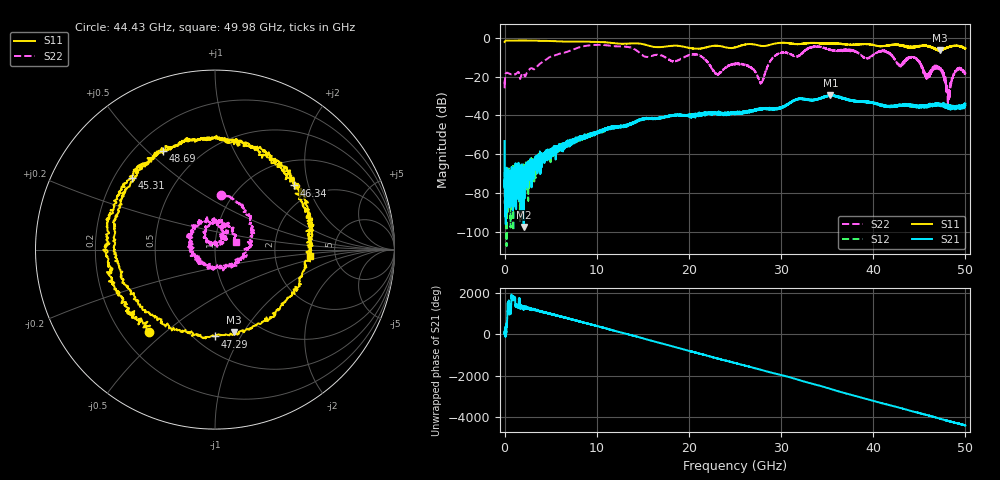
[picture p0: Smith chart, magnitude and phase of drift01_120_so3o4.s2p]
!Created with skrf (http://scikit-rf.org).
# Hz S RI R 50.0
!freq ReS11 ImS11 ReS21 ImS21 ReS12 ImS12 ReS22 ImS22
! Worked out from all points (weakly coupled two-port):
!   10001 points, 300 kHz to 50 GHz, reference 50 ohm
!   highest |S21| = -29.41 dB at 35.36 GHz (marker M1); lowest = -97.5 dB at 2.07 GHz (marker M2)
!   lowest |S11| = -6.5 dB at 47.21 GHz (marker M3), VSWR 2.79, Z = 38.3 - j45.5 ohm
!   |S11| at or under -10 dB: nowhere
!   |S22| runs from -34.2 to -3.6 dB; largest |S21 - S12| = 0.0043
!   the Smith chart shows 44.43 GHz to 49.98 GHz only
!   S11 on the Smith chart (normalised r, x): 44.43 GHz: 0.31, -0.44; 45.31 GHz: 0.27, +0.35; 46.34 GHz: 1.54, +1.63; 47.29 GHz: 0.62, -0.78; 48.69 GHz: 0.31, +0.56; 49.98 GHz: 3.25, -0.32
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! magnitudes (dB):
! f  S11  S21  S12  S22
! 300 kHz  -2.1  -53.2  -62.7  -21.9
! 295.3 MHz  -1.4  -81.0  -79.5  -18.0
! 2.07 GHz  -1.4  -97.5  -74.8  -18.5
! 8.335 GHz  -1.9  -51.8  -51.9  -4.5
! 16.67 GHz  -4.8  -41.4  -41.4  -8.7
! 20.97 GHz  -5.6  -40.0  -39.7  -8.8
! 23.08 GHz  -4.1  -39.3  -39.2  -18.9
! 25 GHz  -5.0  -39.2  -38.8  -13.7
! 27.84 GHz  -4.1  -36.5  -36.6  -23.2
! 29.46 GHz  -2.9  -36.6  -36.4  -8.8
! 33.34 GHz  -2.6  -31.8  -31.9  -4.8
! 35.36 GHz  -2.8  -29.4  -29.7  -6.2
! 41.67 GHz  -3.9  -35.4  -35.3  -7.9
! 44.43 GHz  -4.6  -35.4  -35.8  -10.2
! 45.31 GHz  -4.3  -35.6  -35.3  -15.8
! 46.34 GHz  -4.9  -34.4  -34.4  -16.6
! 47.21 GHz  -6.5  -34.5  -34.9  -16.4
! 47.29 GHz  -6.3  -34.4  -34.3  -16.2
! 48.12 GHz  -4.9  -35.5  -35.6  -31.4
! 48.69 GHz  -4.2  -36.1  -36.0  -19.1
! 49.98 GHz  -5.5  -34.7  -35.1  -18.2
! 50 GHz  -5.4  -33.9  -34.7  -18.4
